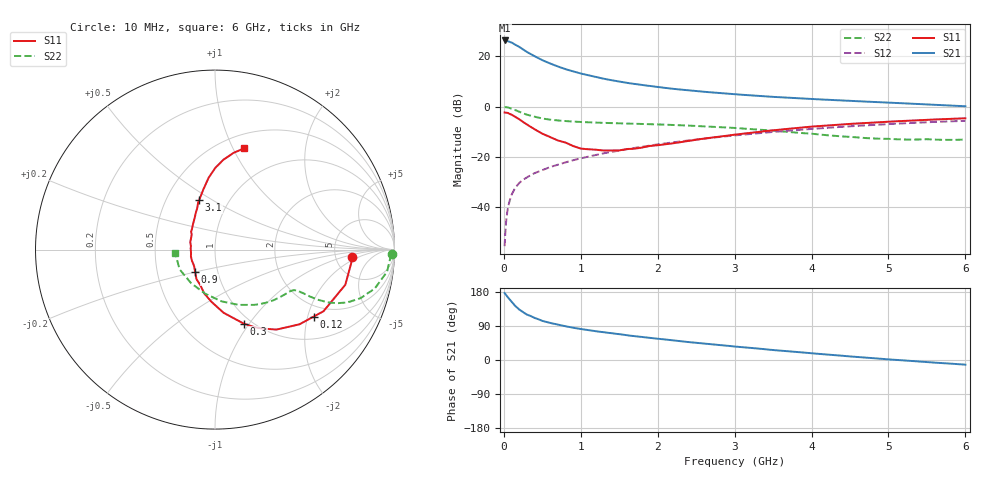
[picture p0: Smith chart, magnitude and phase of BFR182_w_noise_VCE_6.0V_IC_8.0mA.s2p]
! Infineon Technologies  Discrete & RF Semiconductors
! BFR182
! VCE =  6.0 V,  IC =  8.0 mA
! Common Emitter S-Parameters:  Nov 2015
# GHz  S  MA  R  50
!  f  S11  S21  S12  S22
! GHz  MAG  ANG  MAG  ANG  MAG  ANG  MAG  ANG
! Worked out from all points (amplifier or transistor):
!   210 points, 10 MHz to 6 GHz, reference 50 ohm
!   highest |S21| = 26.3 dB at 10 MHz (marker M1)
!   |S21| within 3 dB of that: start of sweep to 222.7 MHz
!   unconditionally stable (mu >= 1): 903.8 MHz to 2.767 GHz
!   at 185 MHz: K = 0.44, MSG = 27.4 dB, |S12| = -30.8 dB
!   at 1.52 GHz: K = 1.05, MAG = 12.2 dB, |S12| = -17.3 dB
!   at 6 GHz: K = 0.89, MSG = 2.9 dB, |S12| = -5.6 dB
!   lowest NFmin = 1.40 dB at 450 MHz
!   S11 on the Smith chart (normalised r, x): 10 MHz: 7.25, -1.51; 120 MHz: 1.64, -2.19; 300 MHz: 0.92, -0.94; 900 MHz: 0.78, -0.20; 3.1 GHz: 0.73, +0.44; 6 GHz: 0.64, +1.11
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0.01  0.7666 -3.2  20.6 176.8  0.0017 91.9  0.9837 -1.5
0.02  0.7619 -6.0  20.12 174.0  0.0033 87.2  0.9769 -3.0
0.05  0.7521 -15.1  19.98 166.1  0.0092 83.4  0.9667 -7.3
0.1  0.6953 -29.6  18.84 153.6  0.0177 77.4  0.9163 -13.7
0.12  0.6651 -34.1  18 149.3  0.0204 74.7  0.8909 -15.5
0.15  0.6282 -41.5  16.94 142.2  0.0246 71.7  0.8546 -18.5
0.2  0.5618 -52.5  15.37 133.2  0.0305 67.8  0.793 -21.8
0.26  0.4849 -63.0  13.39 124.6  0.0362 66.4  0.728 -24.1
0.3  0.4421 -68.8  12.19 119.9  0.0394 65.7  0.6922 -25.1
0.4  0.3557 -82.2  10.01 111.0  0.0479 64.7  0.6287 -26.1
0.5  0.2906 -94.1  8.349 103.3  0.0548 65.1  0.5816 -26.3
0.6  0.251 -103.9  7.188 97.9  0.0631 65.1  0.5513 -26.3
0.7  0.2137 -112.6  6.277 93.1  0.0703 65.9  0.5317 -26.4
0.9  0.1657 -131.7  5.001 85.1  0.0865 66.0  0.506 -26.7
1.02  0.1461 -144.7  4.477 81.2  0.0956 66.5  0.4946 -27.2
1.4  0.1359 177.7  3.342 70.6  0.1264 66.0  0.4718 -30.4
2.02  0.1728 137.9  2.431 55.7  0.1799 62.7  0.4432 -37.7
2.54  0.225 118.9  2.012 44.6  0.2261 58.9  0.4112 -45.9
3.1  0.2895 107.8  1.72 33.9  0.2773 53.7  0.368 -56.8
4.1  0.4117 94.0  1.394 16.1  0.3701 43.3  0.28 -86.5
5.1  0.5122 83.4  1.185 0.3  0.4591 31.3  0.2253 -130.3
6  0.5876 73.9  1.019 -12.3  0.523 19.0  0.2224 -174.8
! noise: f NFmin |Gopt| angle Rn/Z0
0.45  1.4  0.26  41  0.29
0.9  1.5  0.25  83  0.23
1.8  2  0.21  162  0.2
